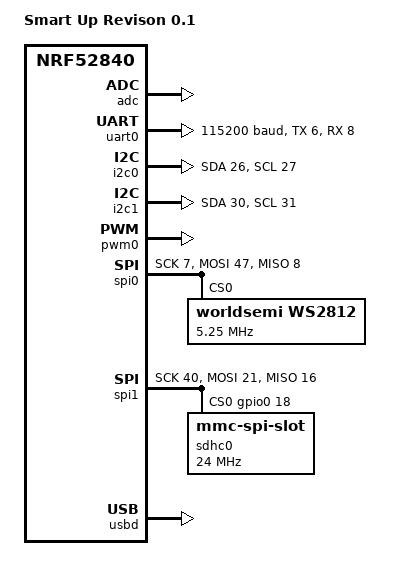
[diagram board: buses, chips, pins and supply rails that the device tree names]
/*
 * Copyright (c) 2017 Linaro Limited
 *
 * SPDX-License-Identifier: Apache-2.0
 */

/dts-v1/;
#include <nordic/nrf52840_qiaa.dtsi>

/ {
	model = "Smart Up Revison 0.1";
	compatible = "nordic,smart_up_0_1", "nordic,nrf52840-qiaa",
		     "nordic,nrf52840";

	chosen {
		zephyr,console = &uart0;
		zephyr,shell-uart = &uart0;
		zephyr,uart-mcumgr = &uart0;
		zephyr,bt-mon-uart = &uart0;
		zephyr,sram = &sram0;
		zephyr,flash = &flash0;
		zephyr,code-partition = &slot0_partition;
	};

	/* These aliases are provided for compatibility with samples */
	aliases {
		buzzer = &pwm0;
		neo_pixel = &spi0;
	};
};

&adc {
	status ="ok";
};

&gpiote {
	status ="ok";
};

&gpio0 {
	status ="ok";
};

&gpio1 {
	status ="ok";
};

&uart0 {
	compatible = "nordic,nrf-uart";
	current-speed = <115200>;
	status = "ok";
	tx-pin = <6>;
	rx-pin = <8>;
	rts-pin = <5>;
	cts-pin = <7>;
};

&i2c0 {
	status = "ok";
	sda-pin = <26>;
	scl-pin = <27>;
};

&i2c1 {
	/* Cannot be used together with spi1. */
	/* status = "ok"; */
	sda-pin = <30>;
	scl-pin = <31>;
};

&pwm0 {
	status = "ok";
	ch0-pin = <15>;
	ch0-inverted;
};

&spi0 {
	status = "ok";
	sck-pin = <7>;
	mosi-pin = <47>;
	miso-pin = <8>;
	ws2812@0 {
		compatible = "worldsemi,ws2812";
		reg = <0>;
		spi-max-frequency = <5250000>;
		label = "WS2812";
	};
};

&spi1 {
	status = "ok";
	sck-pin = <40>;
    mosi-pin = <21>;
    miso-pin = <16>;
    cs-gpios = <&gpio0 18 0>;
	
	sdhc0: sdhc@0 {
        compatible = "zephyr,mmc-spi-slot";
        status = "ok";
        reg = <0>;
        spi-max-frequency = <24000000>;
    };
}


&flash0 {
	/*
	 * For more information, see:
	 * http://docs.zephyrproject.org/latest/guides/dts/index.html#flash-partitions
	 */
	partitions {
		compatible = "fixed-partitions";
		#address-cells = <1>;
		#size-cells = <1>;

		boot_partition: partition@0 {
			label = "mcuboot";
			reg = <0x000000000 0x0000C000>;
		};
		slot0_partition: partition@c000 {
			label = "image-0";
			reg = <0x0000C000 0x000067000>;
		};
		slot1_partition: partition@73000 {
			label = "image-1";
			reg = <0x00073000 0x000067000>;
		};
		scratch_partition: partition@da000 {
			label = "image-scratch";
			reg = <0x000da000 0x0001e000>;
		};

		/*
		 * The flash starting at 0x000f8000 and ending at
		 * 0x000fffff is reserved for use by the application.
		 */

		/* Storage partition will be used by FCB/NFFS/NVS if enabled. */
		storage_partition: partition@f8000 {
			label = "storage";
			reg = <0x000f8000 0x00008000>;
		};
	};
};

&usbd {
	compatible = "nordic,nrf-usbd";
	status = "ok";
};
